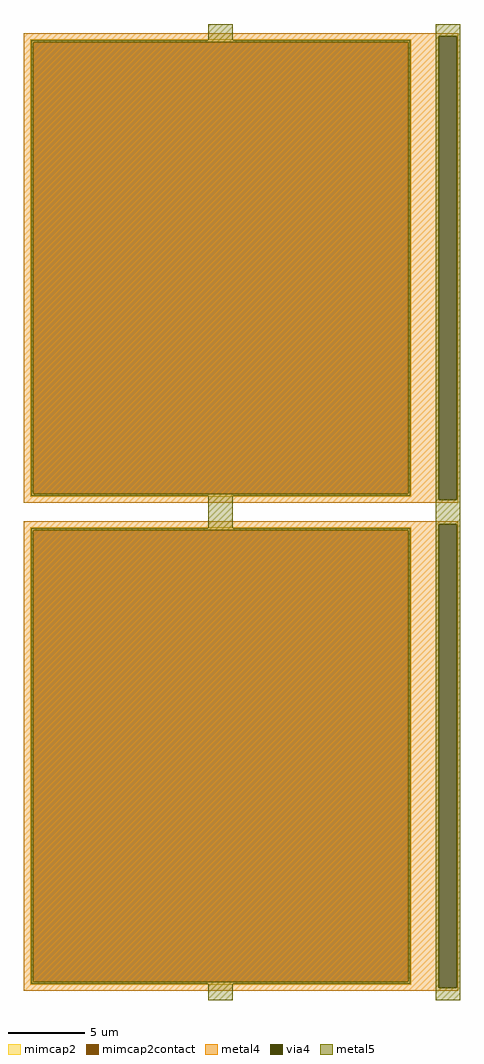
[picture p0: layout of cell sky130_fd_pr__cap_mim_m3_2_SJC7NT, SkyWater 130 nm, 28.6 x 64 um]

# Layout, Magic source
magic
tech sky130B
magscale 1 2
<< metal4 >>
rect -2849 6239 2849 6280
rect -2849 161 2593 6239
rect 2829 161 2849 6239
rect -2849 120 2849 161
rect -2849 -161 2849 -120
rect -2849 -6239 2593 -161
rect 2829 -6239 2849 -161
rect -2849 -6280 2849 -6239
<< via4 >>
rect 2593 161 2829 6239
rect 2593 -6239 2829 -161
<< mimcap2 >>
rect -2769 6160 2231 6200
rect -2769 240 -2729 6160
rect 2191 240 2231 6160
rect -2769 200 2231 240
rect -2769 -240 2231 -200
rect -2769 -6160 -2729 -240
rect 2191 -6160 2231 -240
rect -2769 -6200 2231 -6160
<< mimcap2contact >>
rect -2729 240 2191 6160
rect -2729 -6160 2191 -240
<< metal5 >>
rect -429 6184 -109 6400
rect 2551 6239 2871 6400
rect -2753 6160 2215 6184
rect -2753 240 -2729 6160
rect 2191 240 2215 6160
rect -2753 216 2215 240
rect -429 -216 -109 216
rect 2551 161 2593 6239
rect 2829 161 2871 6239
rect 2551 -161 2871 161
rect -2753 -240 2215 -216
rect -2753 -6160 -2729 -240
rect 2191 -6160 2215 -240
rect -2753 -6184 2215 -6160
rect -429 -6400 -109 -6184
rect 2551 -6239 2593 -161
rect 2829 -6239 2871 -161
rect 2551 -6400 2871 -6239
<< properties >>
string FIXED_BBOX -2849 120 2311 6280
string gencell sky130_fd_pr__cap_mim_m3_2
string library sky130
string parameters w 25 l 30 val 1.52k carea 2.00 cperi 0.19 nx 1 ny 2 dummy 0 square 0 lmin 2.00 wmin 2.00 lmax 30.0 wmax 30.0 dc 0 bconnect 1 tconnect 1 ccov 100
<< end >>
